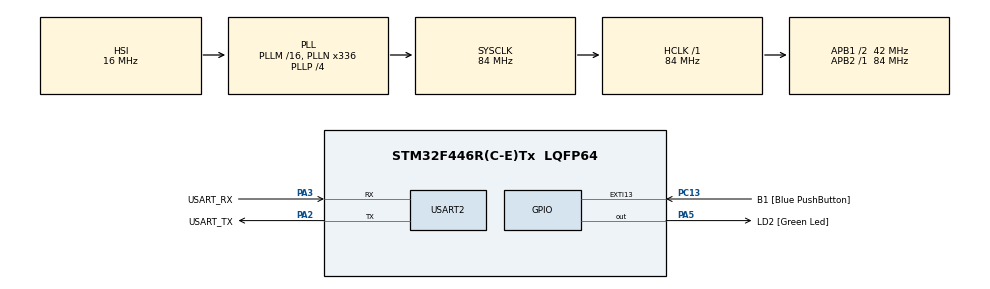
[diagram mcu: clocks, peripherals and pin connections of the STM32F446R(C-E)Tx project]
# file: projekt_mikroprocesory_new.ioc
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Mcu.Family=STM32F4
Mcu.Name=STM32F446R(C-E)Tx
Mcu.Package=LQFP64
NVIC.PriorityGroup=NVIC_PRIORITYGROUP_0
NVIC.USART2_IRQn=true\:0\:0\:false\:false\:true\:true\:true\:true
NVIC.WWDG_IRQn=true\:0\:0\:false\:false\:true\:true\:true\:true
PA13.GPIO_Label=TMS
PA13.Mode=Serial_Wire
PA13.Signal=SYS_JTMS-SWDIO
PA14.GPIO_Label=TCK
PA14.Mode=Serial_Wire
PA14.Signal=SYS_JTCK-SWCLK
PA2.GPIO_Label=USART_TX
PA2.Mode=Asynchronous
PA2.Signal=USART2_TX
PA3.GPIO_Label=USART_RX
PA3.Mode=Asynchronous
PA3.Signal=USART2_RX
PA5.GPIO_Label=LD2 [Green Led]
PA5.Signal=GPIO_Output
PB3.GPIO_Label=SWO
PB3.Signal=SYS_JTDO-SWO
PC13.GPIO_Label=B1 [Blue PushButton]
PC13.GPIO_ModeDefaultEXTI=GPIO_MODE_IT_FALLING
PC13.Signal=GPXTI13
PC14-OSC32_IN.Mode=LSE-External-Oscillator
PC14-OSC32_IN.Signal=RCC_OSC32_IN
PC15-OSC32_OUT.Mode=LSE-External-Oscillator
PC15-OSC32_OUT.Signal=RCC_OSC32_OUT
PH0-OSC_IN.Mode=HSE-External-Oscillator
PH0-OSC_IN.Signal=RCC_OSC_IN
PH1-OSC_OUT.Mode=HSE-External-Oscillator
PH1-OSC_OUT.Signal=RCC_OSC_OUT
ProjectManager.HeapSize=0x200
ProjectManager.StackSize=0x400
ProjectManager.TargetToolchain=STM32CubeIDE
RCC.48MHZClocksFreq_Value=84000000
RCC.AHBFreq_Value=84000000
RCC.APB1CLKDivider=RCC_HCLK_DIV2
RCC.APB1Freq_Value=42000000
RCC.APB1TimFreq_Value=84000000
RCC.APB2Freq_Value=84000000
RCC.APB2TimFreq_Value=84000000
RCC.CortexFreq_Value=84000000
RCC.FLatency-AdvancedSettings=FLASH_LATENCY_2
RCC.HCLKFreq_Value=84000000
RCC.HSE_VALUE=8000000
RCC.HSI_VALUE=16000000
RCC.PLLN=336
RCC.PLLP=RCC_PLLP_DIV4
RCC.SYSCLKFreq_VALUE=84000000
RCC.SYSCLKSource=RCC_SYSCLKSOURCE_PLLCLK
RCC.USBFreq_Value=168000000
RCC.VCOOutputFreq_Value=336000000
USART2.VirtualMode=VM_ASYNC
VP_IWDG_VS_IWDG.Mode=IWDG_Activate
VP_WWDG_VS_WWDG.Mode=WWDG_Activate
board=NUCLEO-F446RE

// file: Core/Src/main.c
/* USER CODE BEGIN Header */
#include <string.h>
#include <stdio.h>
#include <stdarg.h>
#include <frame.h>
#include <stdbool.h>
/**
  ******************************************************************************
  * @file           : main.c
  * @brief          : Main program body
  ******************************************************************************
  * @attention
  *
  * Copyright (c) 2024 STMicroelectronics.
  * All rights reserved.
  *
  * This software is licensed under terms that can be found in the LICENSE file
  * in the root directory of this software component.
  * If no LICENSE file comes with this software, it is provided AS-IS.
  *
  ******************************************************************************
  */
/* USER CODE END Header */
#include "main.h"
#include "iwdg.h"
#include "usart.h"
#include "wwdg.h"
#include "gpio.h"

/* USER CODE BEGIN PV */
#define USART_TXBUF_LEN 1512             // rozmiar bufora nadawczego
#define USART_RXBUF_LEN 128            // rozmiar bufora odbiorczego

uint8_t USART_TxBuf[USART_TXBUF_LEN];    // bufor nadawczy
uint8_t USART_RxBuf[USART_RXBUF_LEN];    // bufor odbiorczy

volatile uint16_t led_blink_interval = 500;

__IO int USART_TX_Empty = 0;			 // __IO - zmienna typu volatile inputoutput
__IO int USART_TX_Busy = 0;
__IO int USART_RX_Empty = 0;
__IO int USART_RX_Busy = 0;
volatile uint8_t ewi_flag __attribute__((section(".noinit")));
/* USER CODE END PV */

void SystemClock_Config(void);
/* USER CODE BEGIN PFP */
uint8_t USART_kbhit();        // sprawdź czy bufor nie jest pusty
int16_t USART_getchar();      // pobierz dane z bufora
uint8_t USART_getline(char *buf); // pobierz linie z bufora
/* USER CODE END PFP */

/* USER CODE BEGIN 0 */
void configureSysTick(void) {
    // Konfiguracja SysTick dla przerwania co 1 ms
	SysTick_Config(SystemCoreClock / 1000);
}
// sprawdź czy bufor nie jest pusty
uint8_t USART_kbhit() {
    return (USART_RX_Empty != USART_RX_Busy);
}

// pobierz pojedyńczy znak z bufora odbiorczego jeśli dostępne są nowe dane
int16_t USART_getchar() {
    if (USART_RX_Empty != USART_RX_Busy) {
        int16_t tmp = USART_RxBuf[USART_RX_Busy];	// pobranie znaku z bufora
        USART_RX_Busy++;
        if (USART_RX_Busy >= USART_RXBUF_LEN) USART_RX_Busy = 0;	// "cykl" bufora
        return tmp;
    } else {
        return -1;
    }
}

// pobierz całą linie tekstu do napotakania znaku nowej linii z bufora odbiorczego
uint8_t USART_getline(char *buf) {
    static uint8_t bf[128];
    static uint8_t index = 0;
    int i;
    uint8_t ret;
    while (USART_kbhit()) {	// sprawdza czy są nowe dane w buforze
        bf[index] = USART_getchar();	// pobiera znak z bufora
        if (bf[index] == 10 || bf[index] == 13) {
            bf[index] = 0;
            for (i = 0; i <= index; i++) {
                buf[i] = bf[i];
            }
            ret = index;
            index = 0;
            return ret;  // zwraca długość linii
        } else {
            index++;
            if (index >= 128) index = 0;
        }
    }
    return 0;
}
// wersja funkcji fsend, która przygotowana jest do wysyłania ramki
void USART_fsend_frame(uint8_t *data, uint8_t len) {
    __IO int idx = USART_TX_Empty;
    uint8_t i;

    // Umieść dane w buforze USART_TxBuf
    for (i = 0; i < len; i++) {
        USART_TxBuf[idx] = data[i];
        idx++;
        if (idx >= USART_TXBUF_LEN) idx = 0; // Zapętlenie bufora
    }
    __disable_irq();
    if ((USART_TX_Empty == USART_TX_Busy) && (__HAL_UART_GET_FLAG(&huart2, UART_FLAG_TXE) == SET)) {
        // Jeśli bufor był pusty i UART gotowy do nadawania, rozpocznij transmisję
        USART_TX_Empty = idx;
        uint8_t tmp = USART_TxBuf[USART_TX_Busy];
        USART_TX_Busy++;
        if (USART_TX_Busy >= USART_TXBUF_LEN) USART_TX_Busy = 0;
        HAL_UART_Transmit_IT(&huart2, &tmp, 1);
    } else {
        // Zaktualizuj wskaźnik końca danych w buforze
        USART_TX_Empty = idx;
    }
    __enable_irq();
}
// wysyła sformatowane dane za pomocą UART z użyciem bufora nadawczego
void USART_fsend(char* format,...){
	char tmp_rs[128];
	int i;
	__IO int idx;
	va_list arglist;
	va_start(arglist,format);
	vsprintf(tmp_rs,format,arglist);
	va_end(arglist);
	idx=USART_TX_Empty;
	for(i=0;i<strlen(tmp_rs);i++){
		USART_TxBuf[idx]=tmp_rs[i];
		idx++;
		if(idx >= USART_TXBUF_LEN)idx=0;
	}
	__disable_irq();
	if((USART_TX_Empty==USART_TX_Busy)&&(__HAL_UART_GET_FLAG(&huart2,UART_FLAG_TXE)==SET)){//sprawdzic dodatkowo zajetosc bufora nadajnika
		USART_TX_Empty=idx;
		uint8_t tmp=USART_TxBuf[USART_TX_Busy];
		USART_TX_Busy++;
		if(USART_TX_Busy >= USART_TXBUF_LEN)USART_TX_Busy=0;
		HAL_UART_Transmit_IT(&huart2, &tmp, 1);
	}else{
		USART_TX_Empty=idx;
	}
	__enable_irq();
}//fsend

// funkcja typu callback wywoływana po zakończeniu transmisji
void HAL_UART_TxCpltCallback(UART_HandleTypeDef *huart) {
    if (huart == &huart2) {
        if (USART_TX_Empty != USART_TX_Busy) {
            uint8_t tmp = USART_TxBuf[USART_TX_Busy];
            USART_TX_Busy++;
            if (USART_TX_Busy >= USART_TXBUF_LEN) USART_TX_Busy = 0;
            HAL_UART_Transmit_IT(&huart2, &tmp, 1);
        }
    }
}

// funkcja typu callback wywoływana po zakończeniu odbioru
void HAL_UART_RxCpltCallback(UART_HandleTypeDef *huart) {
    if (huart == &huart2) {
        USART_RX_Empty++;
        if (USART_RX_Empty >= USART_RXBUF_LEN) USART_RX_Empty = 0;
        HAL_UART_Receive_IT(&huart2, &USART_RxBuf[USART_RX_Empty], 1);
    }
}
/* USER CODE END 0 */

int main(void)
{

  /* USER CODE BEGIN 1 */
	configureSysTick();
  /* USER CODE END 1 */

  /* MCU Configuration--------------------------------------------------------*/

  /* Reset of all peripherals, Initializes the Flash interface and the Systick. */
  HAL_Init();

  /* USER CODE BEGIN Init */
  __HAL_RCC_GPIOA_CLK_ENABLE(); // Włączenie zegara GPIOA
  // Konfiguracja GPIO dla diody LD2
  GPIO_InitTypeDef GPIO_InitStruct = {0};
  GPIO_InitStruct.Pin = GPIO_PIN_5;        // Pin PA5 (LD2)
  GPIO_InitStruct.Mode = GPIO_MODE_OUTPUT_PP; // Wyjście push-pull
  GPIO_InitStruct.Pull = GPIO_NOPULL;      // Bez podciągania
  GPIO_InitStruct.Speed = GPIO_SPEED_FREQ_LOW; // Niska szybkość
  HAL_GPIO_Init(GPIOA, &GPIO_InitStruct);
  /* USER CODE END Init */

  /* Configure the system clock */
  SystemClock_Config();

  /* Initialize all configured peripherals */
  MX_GPIO_Init();
  MX_USART2_UART_Init();
  /* USER CODE BEGIN 2 */
  // flagi sprawdzające czy doszło do resetu poprzez wwdg/iwdg
  if (__HAL_RCC_GET_FLAG(RCC_FLAG_IWDGRST)) {
      led_blink_interval = 100; // Zmiana interwału mrugania na 100 ms
  }
  else if(__HAL_RCC_GET_FLAG(RCC_FLAG_WWDGRST)) {
	  led_blink_interval = 1000;
  }
  __HAL_RCC_CLEAR_RESET_FLAGS(); // Czyszczenie flag resetu
  HAL_UART_Receive_IT(&huart2,&USART_RxBuf[0],1);
  char bx[66];
  bool escape_detected = false;
  uint8_t bx_index = 0;
  bool in_frame = false;
  char received_char;
  Frame ramka;
  if(ewi_flag == 1) {
      memcpy(ramka.command, "BACK", COMMAND_LEN);
      memcpy(ramka.data, "przerwanie ewi zadzialalo", 25);
      sendFrame(ramka.command, ramka.data, 25);
      ewi_flag = 0;
  }
  void reset_frame_state() {
	in_frame = false;
	escape_detected = false;
	bx_index = 0;
  }
	HAL_GPIO_WritePin(GPIOB, GPIO_PIN_13, GPIO_PIN_RESET);
  uint32_t last_toggle_time = HAL_GetTick(); // Pobranie aktualnego czasu
  /* USER CODE END 2 */

  /* Infinite loop */
  /* USER CODE BEGIN WHILE */
while (1) {
    if (HAL_GetTick() - last_toggle_time >= led_blink_interval) {
        HAL_GPIO_TogglePin(GPIOA, GPIO_PIN_5); // Zmiana stanu diody LD2
        last_toggle_time = HAL_GetTick();     // Aktualizacja czasu ostatniego przełączenia
    }

    if (USART_kbhit()) {                // Sprawdzamy, czy jest dostępny nowy znak
        received_char = USART_getchar();   // Pobieramy znak z bufora odbiorczego

        if (received_char == FRAME_START) {
            if (in_frame) {	// wykryto nadmiarowy znak, znowu sprawdzimy ramke
            	reset_frame_state();
            	in_frame = true;
            }// Rozpoczęcie nowej ramki
                in_frame = true;
                bx_index = 0;           // Resetujemy indeks bufora
                escape_detected = false; // Resetujemy flagę escape
        } else if (received_char == FRAME_STOP && escape_detected == false) {    // Koniec ramki
            if (in_frame) {
                // Przetwarzanie odebranej ramki (np. wywołanie funkcji lub ustawienie flagi)
            	// sprawdzamy adres odbiorcy, jesli nim jestesmy, procesujemy ramke
                if (checkFrame(bx,&ramka, bx_index) && bx[1] == 'S') {
                	handleCommand(&ramka, bx_index);
                } else {
                	reset_frame_state(); // inny adres
                }
                reset_frame_state(); // resetujemy po zakończonym odbiorze prawidłowej ramki
            } else {
                // Jeśli ramka się kończy, ale nie została rozpoczęta
                reset_frame_state();
            }
        } else if (in_frame) {
        	if (bx_index < 66) { // po przypisaniu sprawdzenie
            // Jesteśmy w ramce i przetwarzamy znaki
            if (escape_detected) {
                // Jeśli wykryto escape char, sprawdzamy następny znak
                if (received_char == '^') {
                    bx[bx_index++] = '~'; // '~' było zakodowane jako '}^'
                } else if (received_char == ']') {
                    bx[bx_index++] = '}'; // '}' było zakodowane jako '}]'
                } else if (received_char == '&') {
                    bx[bx_index++] = '`'; // '`' było zakodowane jako '}&'
                } else {
                    // Nieprawidłowy znak po '}', resetujemy
                    reset_frame_state();
                }
                escape_detected = false; // Resetujemy flagę escape
            } else if (received_char == ESCAPE_CHAR) {
                escape_detected = true; // Wykryto znak escape, czekamy na następny
            } else {
                bx[bx_index++] = received_char;
                }
            } else {
            	reset_frame_state(); // reset z powodu zbyt duzej ramki
            }
        }
    }
}
    /* USER CODE END WHILE */

}

void SystemClock_Config(void)
{
  RCC_OscInitTypeDef RCC_OscInitStruct = {0};
  RCC_ClkInitTypeDef RCC_ClkInitStruct = {0};

  /** Configure the main internal regulator output voltage
  */
  __HAL_RCC_PWR_CLK_ENABLE();
  __HAL_PWR_VOLTAGESCALING_CONFIG(PWR_REGULATOR_VOLTAGE_SCALE3);

  /** Initializes the RCC Oscillators according to the specified parameters
  * in the RCC_OscInitTypeDef structure.
  */
  RCC_OscInitStruct.OscillatorType = RCC_OSCILLATORTYPE_HSI|RCC_OSCILLATORTYPE_LSI;
  RCC_OscInitStruct.HSIState = RCC_HSI_ON;
  RCC_OscInitStruct.HSICalibrationValue = RCC_HSICALIBRATION_DEFAULT;
  RCC_OscInitStruct.LSIState = RCC_LSI_ON;
  RCC_OscInitStruct.PLL.PLLState = RCC_PLL_ON;
  RCC_OscInitStruct.PLL.PLLSource = RCC_PLLSOURCE_HSI;
  RCC_OscInitStruct.PLL.PLLM = 16;
  RCC_OscInitStruct.PLL.PLLN = 336;
  RCC_OscInitStruct.PLL.PLLP = RCC_PLLP_DIV4;
  RCC_OscInitStruct.PLL.PLLQ = 2;
  RCC_OscInitStruct.PLL.PLLR = 2;
  if (HAL_RCC_OscConfig(&RCC_OscInitStruct) != HAL_OK)
  {
    Error_Handler();
  }

  /** Initializes the CPU, AHB and APB buses clocks
  */
  RCC_ClkInitStruct.ClockType = RCC_CLOCKTYPE_HCLK|RCC_CLOCKTYPE_SYSCLK
                              |RCC_CLOCKTYPE_PCLK1|RCC_CLOCKTYPE_PCLK2;
  RCC_ClkInitStruct.SYSCLKSource = RCC_SYSCLKSOURCE_PLLCLK;
  RCC_ClkInitStruct.AHBCLKDivider = RCC_SYSCLK_DIV1;
  RCC_ClkInitStruct.APB1CLKDivider = RCC_HCLK_DIV2;
  RCC_ClkInitStruct.APB2CLKDivider = RCC_HCLK_DIV1;

  if (HAL_RCC_ClockConfig(&RCC_ClkInitStruct, FLASH_LATENCY_2) != HAL_OK)
  {
    Error_Handler();
  }
}

void Error_Handler(void)
{
  __disable_irq();
  while (1)
  {
  }
}
